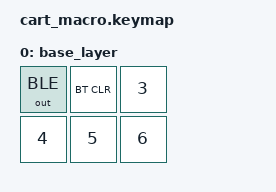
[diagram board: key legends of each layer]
#include <behaviors.dtsi>
#include <dt-bindings/zmk/keys.h>
#include <dt-bindings/zmk/outputs.h>
#include <dt-bindings/zmk/bt.h> 


/ {  
    keymap {
        compatible = "zmk,keymap";

        base_layer {
            display-name = "base_layer";
            bindings = < 
            &out OUT_BLE  &bt BT_CLR    &kp 3
            &kp 4    &kp 5    &kp 6
            >;
        };
        extra_layer_1 {
            status = "reserved";
        };
        extra_layer_2 {
            status = "reserved";
        };
    };
 };
